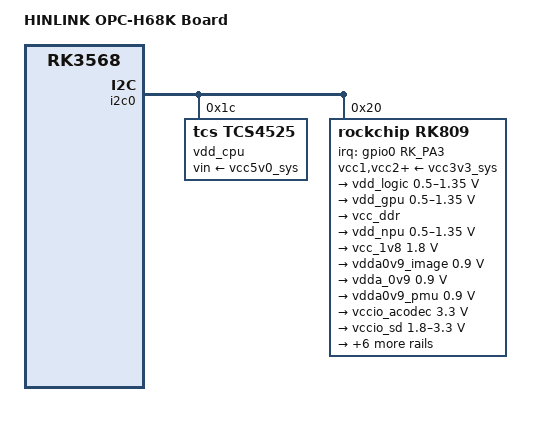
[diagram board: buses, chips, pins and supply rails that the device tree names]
// SPDX-License-Identifier: (GPL-2.0 OR MIT)

#include "rk3568-evb.dts"

/ {
	model = "HINLINK OPC-H68K Board";
	compatible = "hinlink,opc-h68k", "rockchip,rk3568";

	aliases {
		mmc0 = &sdmmc0;
		mmc1 = &sdhci;
	};
};

&cpu0 {
	cpu-supply = <&vdd_cpu>;
};

&cpu1 {
	cpu-supply = <&vdd_cpu>;
};

&cpu2 {
	cpu-supply = <&vdd_cpu>;
};

&cpu3 {
	cpu-supply = <&vdd_cpu>;
};

&i2c0 {
	status = "okay";

	vdd_cpu: regulator@1c {
		compatible = "tcs,tcs4525";
		reg = <0x1c>;
		fcs,suspend-voltage-selector = <1>;
		regulator-name = "vdd_cpu";
		regulator-always-on;
		regulator-boot-on;
		regulator-min-microvolt = <800000>;
		regulator-max-microvolt = <1150000>;
		regulator-ramp-delay = <2300>;
		vin-supply = <&vcc5v0_sys>;

		regulator-state-mem {
			regulator-off-in-suspend;
		};
	};

	rk809: pmic@20 {
		compatible = "rockchip,rk809";
		reg = <0x20>;
		interrupt-parent = <&gpio0>;
		interrupts = <RK_PA3 IRQ_TYPE_LEVEL_LOW>;
		assigned-clocks = <&cru I2S1_MCLKOUT_TX>;
		assigned-clock-parents = <&cru CLK_I2S1_8CH_TX>;
		#clock-cells = <1>;
		clock-names = "mclk";
		clocks = <&cru I2S1_MCLKOUT_TX>;
		pinctrl-names = "default";
		pinctrl-0 = <&pmic_int>, <&i2s1m0_mclk>;
		rockchip,system-power-controller;
		#sound-dai-cells = <0>;
		vcc1-supply = <&vcc3v3_sys>;
		vcc2-supply = <&vcc3v3_sys>;
		vcc3-supply = <&vcc3v3_sys>;
		vcc4-supply = <&vcc3v3_sys>;
		vcc5-supply = <&vcc3v3_sys>;
		vcc6-supply = <&vcc3v3_sys>;
		vcc7-supply = <&vcc3v3_sys>;
		vcc8-supply = <&vcc3v3_sys>;
		vcc9-supply = <&vcc3v3_sys>;
		wakeup-source;

		regulators {
			vdd_logic: DCDC_REG1 {
				regulator-name = "vdd_logic";
				regulator-always-on;
				regulator-boot-on;
				regulator-init-microvolt = <900000>;
				regulator-initial-mode = <0x2>;
				regulator-min-microvolt = <500000>;
				regulator-max-microvolt = <1350000>;
				regulator-ramp-delay = <6001>;

				regulator-state-mem {
					regulator-off-in-suspend;
				};
			};

			vdd_gpu: DCDC_REG2 {
				regulator-name = "vdd_gpu";
				regulator-always-on;
				regulator-init-microvolt = <900000>;
				regulator-initial-mode = <0x2>;
				regulator-min-microvolt = <500000>;
				regulator-max-microvolt = <1350000>;
				regulator-ramp-delay = <6001>;

				regulator-state-mem {
					regulator-off-in-suspend;
				};
			};

			vcc_ddr: DCDC_REG3 {
				regulator-name = "vcc_ddr";
				regulator-always-on;
				regulator-boot-on;
				regulator-initial-mode = <0x2>;

				regulator-state-mem {
					regulator-on-in-suspend;
				};
			};

			vdd_npu: DCDC_REG4 {
				regulator-name = "vdd_npu";
				regulator-init-microvolt = <900000>;
				regulator-initial-mode = <0x2>;
				regulator-min-microvolt = <500000>;
				regulator-max-microvolt = <1350000>;
				regulator-ramp-delay = <6001>;

				regulator-state-mem {
					regulator-off-in-suspend;
				};
			};

			vcc_1v8: DCDC_REG5 {
				regulator-name = "vcc_1v8";
				regulator-always-on;
				regulator-boot-on;
				regulator-min-microvolt = <1800000>;
				regulator-max-microvolt = <1800000>;

				regulator-state-mem {
					regulator-off-in-suspend;
				};
			};

			vdda0v9_image: LDO_REG1 {
				regulator-name = "vdda0v9_image";
				regulator-min-microvolt = <900000>;
				regulator-max-microvolt = <900000>;

				regulator-state-mem {
					regulator-off-in-suspend;
				};
			};

			vdda_0v9: LDO_REG2 {
				regulator-name = "vdda_0v9";
				regulator-always-on;
				regulator-boot-on;
				regulator-min-microvolt = <900000>;
				regulator-max-microvolt = <900000>;

				regulator-state-mem {
					regulator-off-in-suspend;
				};
			};

			vdda0v9_pmu: LDO_REG3 {
				regulator-name = "vdda0v9_pmu";
				regulator-always-on;
				regulator-boot-on;
				regulator-min-microvolt = <900000>;
				regulator-max-microvolt = <900000>;

				regulator-state-mem {
					regulator-on-in-suspend;
					regulator-suspend-microvolt = <900000>;
				};
			};

			vccio_acodec: LDO_REG4 {
				regulator-name = "vccio_acodec";
				regulator-always-on;
				regulator-min-microvolt = <3300000>;
				regulator-max-microvolt = <3300000>;

				regulator-state-mem {
					regulator-off-in-suspend;
				};
			};

			vccio_sd: LDO_REG5 {
				regulator-name = "vccio_sd";
				regulator-min-microvolt = <1800000>;
				regulator-max-microvolt = <3300000>;

				regulator-state-mem {
					regulator-off-in-suspend;
				};
			};

			vcc3v3_pmu: LDO_REG6 {
				regulator-name = "vcc3v3_pmu";
				regulator-always-on;
				regulator-boot-on;
				regulator-min-microvolt = <3300000>;
				regulator-max-microvolt = <3300000>;

				regulator-state-mem {
					regulator-on-in-suspend;
					regulator-suspend-microvolt = <3300000>;
				};
			};

			vcca_1v8: LDO_REG7 {
				regulator-name = "vcca_1v8";
				regulator-always-on;
				regulator-boot-on;
				regulator-min-microvolt = <1800000>;
				regulator-max-microvolt = <1800000>;

				regulator-state-mem {
					regulator-off-in-suspend;
				};
			};

			vcca1v8_pmu: LDO_REG8 {
				regulator-name = "vcca1v8_pmu";
				regulator-always-on;
				regulator-boot-on;
				regulator-min-microvolt = <1800000>;
				regulator-max-microvolt = <1800000>;

				regulator-state-mem {
					regulator-on-in-suspend;
					regulator-suspend-microvolt = <1800000>;
				};
			};

			vcca1v8_image: LDO_REG9 {
				regulator-name = "vcca1v8_image";
				regulator-min-microvolt = <1800000>;
				regulator-max-microvolt = <1800000>;

				regulator-state-mem {
					regulator-off-in-suspend;
				};
			};

			vcc_3v3: SWITCH_REG1 {
				regulator-name = "vcc_3v3";
				regulator-always-on;
				regulator-boot-on;

				regulator-state-mem {
					regulator-off-in-suspend;
				};
			};

			vcc3v3_sd: SWITCH_REG2 {
				regulator-name = "vcc3v3_sd";

				regulator-state-mem {
					regulator-off-in-suspend;
				};
			};
		};

		codec {
			mic-in-differential;
		};
	};
};

&pinctrl {
	pmic {
		pmic_int: pmic_int {
			rockchip,pins = <0 RK_PA3 RK_FUNC_GPIO &pcfg_pull_up>;
		};
	};
};
